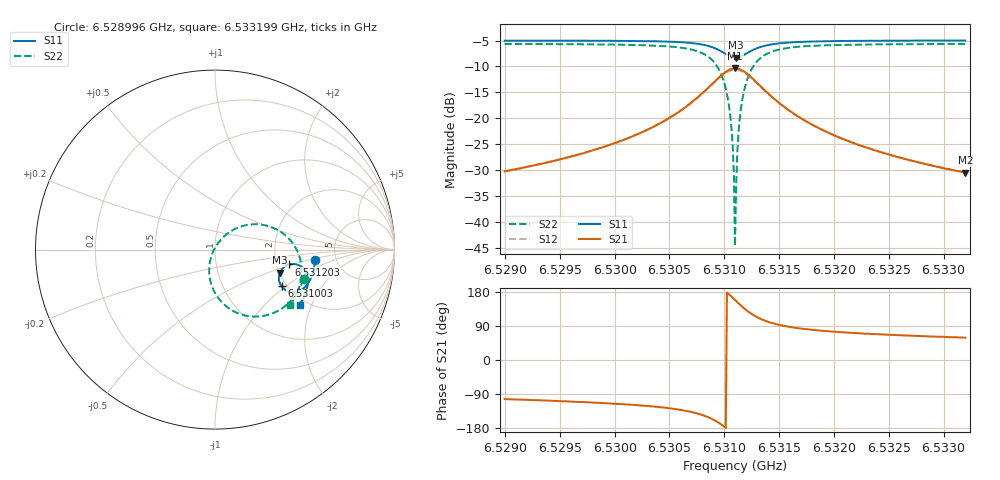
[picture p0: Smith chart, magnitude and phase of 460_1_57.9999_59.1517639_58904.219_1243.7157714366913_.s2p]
#  HZ  S  RI  R  50.00
! Rohde & Schwarz Vector Network Analyzer
! Rohde-Schwarz,ZNB20-2Port,1311601062101988,3.16
! Created: UTC 3/21/2024, 1:10:55 AM
! freq[Hz]  re:S11  im:S11  re:S21  im:S21  re:S12  im:S12  re:S22  im:S22
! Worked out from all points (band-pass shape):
!   401 points, 6.528996 GHz to 6.533199 GHz, reference 50 ohm
!   highest |S21| = -10.38 dB at 6.531098 GHz (marker M1); lowest = -30.5 dB at 6.533199 GHz (marker M2)
!   |S21| within 3 dB of the highest: 6.530889 GHz to 6.531309 GHz (419.7 kHz wide, 0.00643 % of centre)
!   lowest |S11| = -8.3 dB at 6.531108 GHz (marker M3), VSWR 2.25, Z = 101 - j30.2 ohm
!   |S11| at or under -10 dB: nowhere
!   |S22| runs from -44.7 to -5.7 dB; largest |S21 - S12| = 0.012
!   S11 on the Smith chart (normalised r, x): 6.528996 GHz: 3.44, -0.60; 6.531003 GHz: 1.88, -0.93; 6.531203 GHz: 2.34, -0.47; 6.533199 GHz: 1.82, -1.64
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6.5289959e9  0.5579 -0.0599  -0.00692 -0.0298  -0.00757 -0.0298  0.4941 -0.1632
6.5297e9  0.5473 -0.1181  -0.0162 -0.0426  -0.0172 -0.0421  0.464 -0.2287
6.530404e9  0.5189 -0.1872  -0.0496 -0.073  -0.0514 -0.0716  0.3837 -0.3202
6.5308244e9  0.4489 -0.2363  -0.1555 -0.0983  -0.1578 -0.0925  0.1798 -0.3694
6.5309294e9  0.4049 -0.231  -0.2239 -0.0727  -0.2234 -0.0634  0.0629 -0.316
6.531003e9  0.3708 -0.2041  -0.2744 -0.0153  -0.2691 -0.0056  -0.0146 -0.2112
6.5310345e9  0.3604 -0.1843  -0.2881 0.0227  -0.2804 0.0311  -0.0311 -0.1457
6.5310555e9  0.3565 -0.169  -0.2915 0.0515  -0.2825 0.0586  -0.0321 -0.0975
6.531066e9  0.3558 -0.1607  -0.2913 0.0665  -0.2815 0.0726  -0.0292 -0.0728
6.5310766e9  0.356 -0.1524  -0.2894 0.0816  -0.2793 0.0868  -0.0238 -0.0483
6.5310871e9  0.3571 -0.1441  -0.2862 0.0964  -0.2758 0.1009  -0.016 -0.0242
6.5310976e9  0.3591 -0.1359  -0.2814 0.1112  -0.2707 0.1146  -0.00573 -0.000945
6.5311081e9  0.362 -0.1279  -0.2752 0.1253  -0.2644 0.1278  0.00691 0.0214
6.5311186e9  0.3657 -0.1203  -0.2674 0.1386  -0.2569 0.1403  0.0214 0.0422
6.5311291e9  0.3701 -0.1133  -0.2586 0.1511  -0.2484 0.1519  0.0379 0.0613
6.5311501e9  0.3809 -0.1009  -0.2379 0.1728  -0.2286 0.1718  0.0751 0.0937
6.5312027e9  0.4135 -0.0829  -0.1783 0.2048  -0.1719 0.2017  0.1787 0.1372
6.5312762e9  0.456 -0.0833  -0.1037 0.2069  -0.1005 0.204  0.3047 0.1286
6.5313813e9  0.4927 -0.1058  -0.0396 0.1765  -0.0381 0.1748  0.4099 0.0629
6.5318016e9  0.5179 -0.1855  0.0155 0.0851  0.0165 0.0848  0.483 -0.1281
6.5325057e9  0.4982 -0.2569  0.0175 0.0408  0.0184 0.0405  0.4551 -0.245
6.5331992e9  0.4711 -0.3082  0.0154 0.0256  0.0159 0.0254  0.4204 -0.3065
